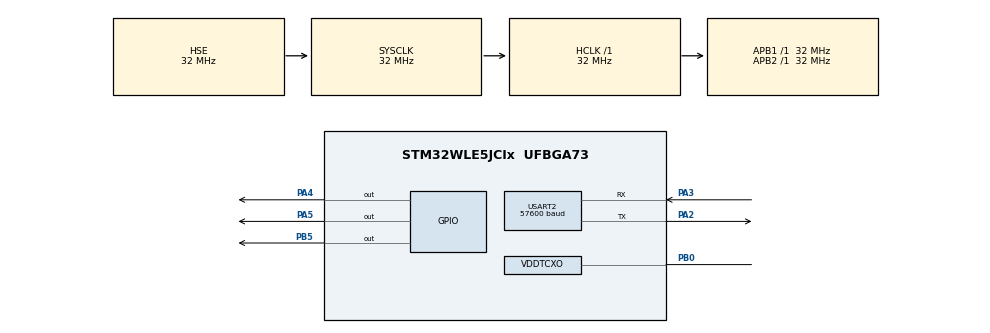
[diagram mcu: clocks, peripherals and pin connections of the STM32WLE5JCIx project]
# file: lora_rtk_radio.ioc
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Mcu.Family=STM32WL
Mcu.Name=STM32WLE5JCIx
Mcu.Package=UFBGA73
NVIC.PriorityGroup=NVIC_PRIORITYGROUP_4
OSC_IN.Mode=HSE-TCXO
OSC_IN.Signal=RCC_OSC_IN
PA10.Signal=SPI2_MOSI
PA13.Signal=DEBUG_JTMS-SWDIO
PA14.Signal=DEBUG_JTCK-SWCLK
PA15.Signal=I2C2_SDA
PA2.Mode=Asynchronous
PA2.Signal=USART2_TX
PA3.Mode=Asynchronous
PA3.Signal=USART2_RX
PA4.Signal=GPIO_Output
PA5.Signal=GPIO_Output
PB0-VDD_TCXO.Mode=HSE-TCXO
PB0-VDD_TCXO.Signal=VDDTCXO
PB13.Signal=SPI2_SCK
PB14.Signal=SPI2_MISO
PB15.Signal=I2C2_SCL
PB5.Signal=GPIO_Output
PB6.Signal=USART1_TX
PB7.Signal=USART1_RX
PB9.Signal=SPI2_NSS
PC0.Signal=LPUART1_RX
PC1.Signal=LPUART1_TX
ProjectManager.HeapSize=0x200
ProjectManager.StackSize=0x400
ProjectManager.TargetToolchain=Makefile
RCC.AHBFreq_Value=32000000
RCC.APB1Freq_Value=32000000
RCC.APB1TimFreq_Value=32000000
RCC.APB2Freq_Value=32000000
RCC.APB2TimFreq_Value=32000000
RCC.APB3Freq_Value=32000000
RCC.CortexFreq_Value=32000000
RCC.HCLKFreq_Value=32000000
RCC.HSE_VALUE=32000000
RCC.HSI_VALUE=16000000
RCC.LSE_VALUE=32768
RCC.SYSCLKFreq_VALUE=32000000
RCC.SYSCLKSource=RCC_SYSCLKSOURCE_HSE
RCC.VCOOutputFreq_Value=32000000
SUBGHZ_PHY.Activate_BOARD_RESOURCES=none
SubGHz_Phy.BSP.number=3
SubGHz_Phy0.BSP.STBoard=false
SubGHz_Phy0.BSP.api=Unknown
SubGHz_Phy0.BSP.condition=SEM_RADIO_BOARD_INTERFACE_FOR_SUBGHZ_PHY
SubGHz_Phy0.BSP.i2caddr=0
SubGHz_Phy0.BSP.instance=PB5
SubGHz_Phy0.BSP.ip=GPIO
SubGHz_Phy0.BSP.mode=Output
SubGHz_Phy0.BSP.name=RF SW CTRL 3
SubGHz_Phy0.BSP.solution=PB5
SubGHz_Phy1.BSP.STBoard=false
SubGHz_Phy1.BSP.api=Unknown
SubGHz_Phy1.BSP.condition=SEM_RADIO_BOARD_INTERFACE_FOR_SUBGHZ_PHY
SubGHz_Phy1.BSP.i2caddr=0
SubGHz_Phy1.BSP.instance=PA4
SubGHz_Phy1.BSP.ip=GPIO
SubGHz_Phy1.BSP.mode=Output
SubGHz_Phy1.BSP.name=RF SW CTRL 1
SubGHz_Phy1.BSP.solution=PA4
SubGHz_Phy2.BSP.STBoard=false
SubGHz_Phy2.BSP.api=Unknown
SubGHz_Phy2.BSP.condition=SEM_RADIO_BOARD_INTERFACE_FOR_SUBGHZ_PHY
SubGHz_Phy2.BSP.i2caddr=0
SubGHz_Phy2.BSP.instance=PA5
SubGHz_Phy2.BSP.ip=GPIO
SubGHz_Phy2.BSP.mode=Output
SubGHz_Phy2.BSP.name=RF SW CTRL 2
SubGHz_Phy2.BSP.solution=PA5
USART2.BaudRate=57600
USART2.VirtualMode-Asynchronous=VM_ASYNC
VP_ADV_TRACE_VS_ADV_TRACE.Mode=ADV_TRACE_Enabled
VP_MISC_VS_MISC.Mode=MISC_Enabled
VP_SEQUENCER_VS_SEQUENCER.Mode=SEQUENCER_Enabled
VP_SUBGHZ_PHY_VS_SubGhzPhy.Mode=SubGhzPhy_Enabled
VP_SUBGHZ_VS_SUBGHZ.Mode=SUBGHZ_Activate
VP_TIMER_VS_TIMER.Mode=TIMER_Enabled
VP_TINY_LPM_VS_TINY_LPM.Mode=TINY_LPM_Enabled
board=custom

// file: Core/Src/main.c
/* USER CODE BEGIN Header */
/**
  ******************************************************************************
  * @file           : main.c
  * @brief          : Main program body
  ******************************************************************************
  * @attention
  *
  * <h2><center>&copy; Copyright (c) 2021 STMicroelectronics.
  * All rights reserved.</center></h2>
  *
  * This software component is licensed by ST under BSD 3-Clause license,
  * the "License"; You may not use this file except in compliance with the
  * License. You may obtain a copy of the License at:
  *                        opensource.org/licenses/BSD-3-Clause
  *
  ******************************************************************************
  */
/* USER CODE END Header */
#include "main.h"

/* USER CODE BEGIN Includes */
#include "printf.h"
#include "string.h"
#include "../../c_library_v2/common/mavlink.h"
#include "../../Middlewares/Third_Party/SubGHz_Phy/stm32_radio_driver/radio_driver.h"
/* USER CODE END Includes */

/* USER CODE BEGIN PD */
#define RADIO_FREQUENCY 910000000
#define RADIO_TX_POWER 20
#define LORARADIO_TX_BUFFER_SIZE         256
#define LORARADIO_RX_BUFFER_SIZE         512
/* USER CODE END PD */

SUBGHZ_HandleTypeDef hsubghz;

UART_HandleTypeDef huart2;

/* USER CODE BEGIN PV */
enum Bandwidth {
    BW_125 = 0,
    BW_250,
    BW_500,
};

enum SpreadingFactor {
    SF_7 = 7,
    SF_8,
    SF_9,
    SF_10,
    SF_11,
    SF_12,
};

enum CodingRate {
    CR_4_5 = 1,
    CR_4_6,
    CR_4_7,
    CR_4_8,
};

enum IdleMode {
    IDLE_STANDBY = 0,
    IDLE_SLEEP,
};

struct Radio {
  int frequency;
  int txPower;
  enum Bandwidth bandwidth;
  enum SpreadingFactor spreadingFactor;
  enum CodingRate codingRate;
} lora_radio;
/* USER CODE END PV */

void SystemClock_Config(void);
static void MX_GPIO_Init(void);
static void MX_SUBGHZ_Init(void);
static void MX_USART2_UART_Init(void);
/* USER CODE BEGIN PFP */
void Radio_Init(void);
/* USER CODE END PFP */

int main(void)
{

  /* MCU Configuration--------------------------------------------------------*/

  /* Reset of all peripherals, Initializes the Flash interface and the Systick. */
  HAL_Init();

  /* USER CODE BEGIN Init */
  Radio_Init();
  /* USER CODE END Init */

  /* Configure the system clock */
  SystemClock_Config();

  /* Initialize all configured peripherals */
  MX_GPIO_Init();
  MX_SUBGHZ_Init();
  MX_USART2_UART_Init();
  /* USER CODE BEGIN 2 */
  uint8_t Rx_data[10];
  /* USER CODE END 2 */

  /* Infinite loop */
  /* USER CODE BEGIN WHILE */
  while (1)
  {

    printf("Hello World!\r\n");

    // HAL_UART_Receive(&huart2, Rx_data, 4, 100);
    // HAL_Delay(100);

    // mavlink_frame_char(chan, byte, &msg, &status);
    // printf("Received message with ID %d, sequence: %d from component %d of system %d\r\n", msg.msgid, msg.seq, msg.compid, msg.sysid);

    // // Transmitter
    // mavlink_message_t msg;
    // mavlink_status_t status;
    // int chan = 0;

    // while (serial.bytesAvailable > 0)
    // {
    //   uint8_t byte = serial.getNextByte();
    //   if (mavlink_frame_char(chan, byte, &msg, &status) != MAVLINK_FRAMING_INCOMPLETE)
    //   {
    //     printf("Received message with ID %d, sequence: %d from component %d of system %d", msg.msgid, msg.seq, msg.compid, msg.sysid);
    //   }
    // }

    HAL_Delay(100);

  }
    /* USER CODE END WHILE */

}

void SystemClock_Config(void)
{
  RCC_OscInitTypeDef RCC_OscInitStruct = {0};
  RCC_ClkInitTypeDef RCC_ClkInitStruct = {0};

  /** Configure the main internal regulator output voltage
  */
  __HAL_PWR_VOLTAGESCALING_CONFIG(PWR_REGULATOR_VOLTAGE_SCALE2);
  /** Initializes the CPU, AHB and APB busses clocks
  */
  RCC_OscInitStruct.OscillatorType = RCC_OSCILLATORTYPE_HSE;
  RCC_OscInitStruct.HSEState = RCC_HSE_BYPASS_PWR;
  RCC_OscInitStruct.HSEDiv = RCC_HSE_DIV1;
  RCC_OscInitStruct.PLL.PLLState = RCC_PLL_NONE;
  if (HAL_RCC_OscConfig(&RCC_OscInitStruct) != HAL_OK)
  {
    Error_Handler();
  }
  /** Configure the SYSCLKSource, HCLK, PCLK1 and PCLK2 clocks dividers
  */
  RCC_ClkInitStruct.ClockType = RCC_CLOCKTYPE_HCLK3|RCC_CLOCKTYPE_HCLK
                              |RCC_CLOCKTYPE_SYSCLK|RCC_CLOCKTYPE_PCLK1
                              |RCC_CLOCKTYPE_PCLK2;
  RCC_ClkInitStruct.SYSCLKSource = RCC_SYSCLKSOURCE_HSE;
  RCC_ClkInitStruct.AHBCLKDivider = RCC_SYSCLK_DIV1;
  RCC_ClkInitStruct.APB1CLKDivider = RCC_HCLK_DIV1;
  RCC_ClkInitStruct.APB2CLKDivider = RCC_HCLK_DIV1;
  RCC_ClkInitStruct.AHBCLK3Divider = RCC_SYSCLK_DIV1;

  if (HAL_RCC_ClockConfig(&RCC_ClkInitStruct, FLASH_LATENCY_1) != HAL_OK)
  {
    Error_Handler();
  }
}

static void MX_SUBGHZ_Init(void)
{

  hsubghz.Init.BaudratePrescaler = SUBGHZSPI_BAUDRATEPRESCALER_8;
  if (HAL_SUBGHZ_Init(&hsubghz) != HAL_OK)
  {
    Error_Handler();
  }

}

static void MX_USART2_UART_Init(void)
{

  huart2.Instance = USART2;
  huart2.Init.BaudRate = 57600;
  huart2.Init.WordLength = UART_WORDLENGTH_8B;
  huart2.Init.StopBits = UART_STOPBITS_1;
  huart2.Init.Parity = UART_PARITY_NONE;
  huart2.Init.Mode = UART_MODE_TX_RX;
  huart2.Init.HwFlowCtl = UART_HWCONTROL_NONE;
  huart2.Init.OverSampling = UART_OVERSAMPLING_16;
  huart2.Init.OneBitSampling = UART_ONE_BIT_SAMPLE_DISABLE;
  huart2.Init.ClockPrescaler = UART_PRESCALER_DIV1;
  huart2.AdvancedInit.AdvFeatureInit = UART_ADVFEATURE_NO_INIT;
  if (HAL_UART_Init(&huart2) != HAL_OK)
  {
    Error_Handler();
  }
  if (HAL_UARTEx_SetTxFifoThreshold(&huart2, UART_TXFIFO_THRESHOLD_1_8) != HAL_OK)
  {
    Error_Handler();
  }
  if (HAL_UARTEx_SetRxFifoThreshold(&huart2, UART_RXFIFO_THRESHOLD_1_8) != HAL_OK)
  {
    Error_Handler();
  }
  if (HAL_UARTEx_DisableFifoMode(&huart2) != HAL_OK)
  {
    Error_Handler();
  }

}

static void MX_GPIO_Init(void)
{
  GPIO_InitTypeDef GPIO_InitStruct = {0};

  /* GPIO Ports Clock Enable */
  __HAL_RCC_GPIOA_CLK_ENABLE();
  __HAL_RCC_GPIOB_CLK_ENABLE();
  __HAL_RCC_GPIOC_CLK_ENABLE();

  /*Configure GPIO pin Output Level */
  HAL_GPIO_WritePin(GPIOB, GPIO_PIN_5, GPIO_PIN_RESET);

  /*Configure GPIO pin Output Level */
  HAL_GPIO_WritePin(GPIOA, GPIO_PIN_4|GPIO_PIN_5, GPIO_PIN_RESET);

  /*Configure GPIO pin : PA15 */
  GPIO_InitStruct.Pin = GPIO_PIN_15;
  GPIO_InitStruct.Mode = GPIO_MODE_AF_OD;
  GPIO_InitStruct.Pull = GPIO_PULLUP;
  GPIO_InitStruct.Speed = GPIO_SPEED_FREQ_LOW;
  GPIO_InitStruct.Alternate = GPIO_AF4_I2C2;
  HAL_GPIO_Init(GPIOA, &GPIO_InitStruct);

  /*Configure GPIO pin : PB15 */
  GPIO_InitStruct.Pin = GPIO_PIN_15;
  GPIO_InitStruct.Mode = GPIO_MODE_AF_OD;
  GPIO_InitStruct.Pull = GPIO_PULLUP;
  GPIO_InitStruct.Speed = GPIO_SPEED_FREQ_LOW;
  GPIO_InitStruct.Alternate = GPIO_AF4_I2C2;
  HAL_GPIO_Init(GPIOB, &GPIO_InitStruct);

  /*Configure GPIO pins : PB7 PB6 */
  GPIO_InitStruct.Pin = GPIO_PIN_7|GPIO_PIN_6;
  GPIO_InitStruct.Mode = GPIO_MODE_AF_PP;
  GPIO_InitStruct.Pull = GPIO_NOPULL;
  GPIO_InitStruct.Speed = GPIO_SPEED_FREQ_LOW;
  GPIO_InitStruct.Alternate = GPIO_AF7_USART1;
  HAL_GPIO_Init(GPIOB, &GPIO_InitStruct);

  /*Configure GPIO pins : PB9 PB14 PB13 */
  GPIO_InitStruct.Pin = GPIO_PIN_9|GPIO_PIN_14|GPIO_PIN_13;
  GPIO_InitStruct.Mode = GPIO_MODE_AF_PP;
  GPIO_InitStruct.Pull = GPIO_NOPULL;
  GPIO_InitStruct.Speed = GPIO_SPEED_FREQ_LOW;
  GPIO_InitStruct.Alternate = GPIO_AF5_SPI2;
  HAL_GPIO_Init(GPIOB, &GPIO_InitStruct);

  /*Configure GPIO pin : PA10 */
  GPIO_InitStruct.Pin = GPIO_PIN_10;
  GPIO_InitStruct.Mode = GPIO_MODE_AF_PP;
  GPIO_InitStruct.Pull = GPIO_NOPULL;
  GPIO_InitStruct.Speed = GPIO_SPEED_FREQ_LOW;
  GPIO_InitStruct.Alternate = GPIO_AF5_SPI2;
  HAL_GPIO_Init(GPIOA, &GPIO_InitStruct);

  /*Configure GPIO pin : PB5 */
  GPIO_InitStruct.Pin = GPIO_PIN_5;
  GPIO_InitStruct.Mode = GPIO_MODE_OUTPUT_PP;
  GPIO_InitStruct.Pull = GPIO_NOPULL;
  GPIO_InitStruct.Speed = GPIO_SPEED_FREQ_LOW;
  HAL_GPIO_Init(GPIOB, &GPIO_InitStruct);

  /*Configure GPIO pins : PC1 PC0 */
  GPIO_InitStruct.Pin = GPIO_PIN_1|GPIO_PIN_0;
  GPIO_InitStruct.Mode = GPIO_MODE_AF_PP;
  GPIO_InitStruct.Pull = GPIO_NOPULL;
  GPIO_InitStruct.Speed = GPIO_SPEED_FREQ_LOW;
  GPIO_InitStruct.Alternate = GPIO_AF8_LPUART1;
  HAL_GPIO_Init(GPIOC, &GPIO_InitStruct);

  /*Configure GPIO pins : PA4 PA5 */
  GPIO_InitStruct.Pin = GPIO_PIN_4|GPIO_PIN_5;
  GPIO_InitStruct.Mode = GPIO_MODE_OUTPUT_PP;
  GPIO_InitStruct.Pull = GPIO_NOPULL;
  GPIO_InitStruct.Speed = GPIO_SPEED_FREQ_LOW;
  HAL_GPIO_Init(GPIOA, &GPIO_InitStruct);

}

/* USER CODE BEGIN 4 */
void _putchar(char c)
{
  uint8_t temp = c;
  HAL_UART_Transmit(&huart2, &temp, 1, 10);
}

/**
  * @brief LoRa Radio Initialization Function
  * @param None
  * @retval None
  */
void Radio_Init(){
  lora_radio.frequency = RADIO_FREQUENCY;
  lora_radio.txPower = RADIO_TX_POWER;
  lora_radio.bandwidth = BW_500;
  lora_radio.spreadingFactor = SF_9;
  lora_radio.codingRate = CR_4_5;
}

int Start_Radio(unsigned long frequency)
{

    return 1;
}

/* USER CODE END 4 */

void Error_Handler(void)
{
  __disable_irq();
  while (1)
  {
  }
}

/************************ (C) COPYRIGHT STMicroelectronics *****END OF FILE****/
